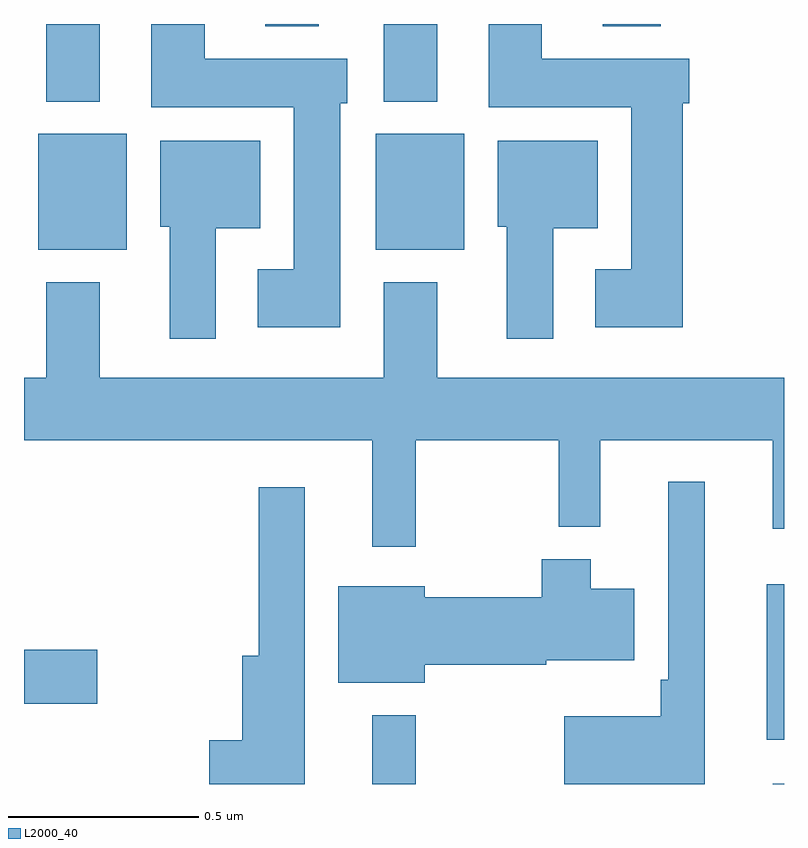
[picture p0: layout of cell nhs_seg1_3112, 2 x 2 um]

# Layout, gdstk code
import gdstk
lib = gdstk.Library(unit=1e-6, precision=1e-09)
def R(c, l, rs):  # rectangles x0, y0, x1, y1
    for r in rs: c.add(gdstk.rectangle(r[:2], r[2:], *l))
def P(c, l, *ps):  # polygons
    for p in ps: c.add(gdstk.Polygon(p, *l))
L2000_40 = (2000, 40)

nhs_seg1_3112 = lib.new_cell('nhs_seg1_3112')
R(nhs_seg1_3112, L2000_40, [(150.917,512.199,151.031,512.38), (151.97,512.199,152,512.2), (151.955,512.315,152,512.725), (150,512.41,150.193,512.552), (150.038,513.605,150.271,513.91), (150.926,513.605,151.159,513.91), (150.059,513.995,150.199,514.199), (150.947,513.995,151.087,514.199), (150.635,514.193,150.775,514.199), (151.523,514.193,151.676,514.199)])
P(nhs_seg1_3112, L2000_40, [(150.832,513.99),(150.85,513.99),(150.85,514.108),(150.475,514.108),(150.475,514.199),(150.335,514.199),(150.335,513.98),(150.71,513.98),(150.71,513.553),(150.615,513.553),(150.615,513.401),(150.832,513.401)],
  [(151.733,513.99),(151.751,513.99),(151.751,514.108),(151.363,514.108),(151.363,514.199),(151.223,514.199),(151.223,513.98),(151.598,513.98),(151.598,513.553),(151.503,513.553),(151.503,513.401),(151.733,513.401)],
  [(150.505,513.662),(150.622,513.662),(150.622,513.892),(150.359,513.892),(150.359,513.666),(150.383,513.666),(150.383,513.371),(150.505,513.371)],
  [(151.393,513.662),(151.51,513.662),(151.51,513.892),(151.247,513.892),(151.247,513.666),(151.271,513.666),(151.271,513.371),(151.393,513.371)],
  [(151.031,513.104),(151.407,513.104),(151.407,512.876),(151.517,512.876),(151.517,513.104),(151.97,513.104),(151.97,512.871),(152,512.871),(152,513.268),(151.087,513.268),(151.087,513.52),(150.947,513.52),(150.947,513.268),(150.199,513.268),(150.199,513.52),(150.059,513.52),(150.059,513.268),(150,513.268),(150,513.104),(150.917,513.104),(150.917,512.823),(151.031,512.823)],
  [(151.792,512.995),(151.695,512.995),(151.695,512.473),(151.675,512.473),(151.675,512.377),(151.422,512.377),(151.422,512.199),(151.792,512.199)],
  [(150.739,512.98),(150.618,512.98),(150.618,512.536),(150.574,512.536),(150.574,512.314),(150.488,512.314),(150.488,512.199),(150.739,512.199)],
  [(151.054,512.513),(151.374,512.513),(151.374,512.525),(151.606,512.525),(151.606,512.713),(151.492,512.713),(151.492,512.791),(151.363,512.791),(151.363,512.691),(151.054,512.691),(151.054,512.719),(150.827,512.719),(150.827,512.465),(151.054,512.465)])

lib.write_gds('nhs_seg1_3112.gds')
